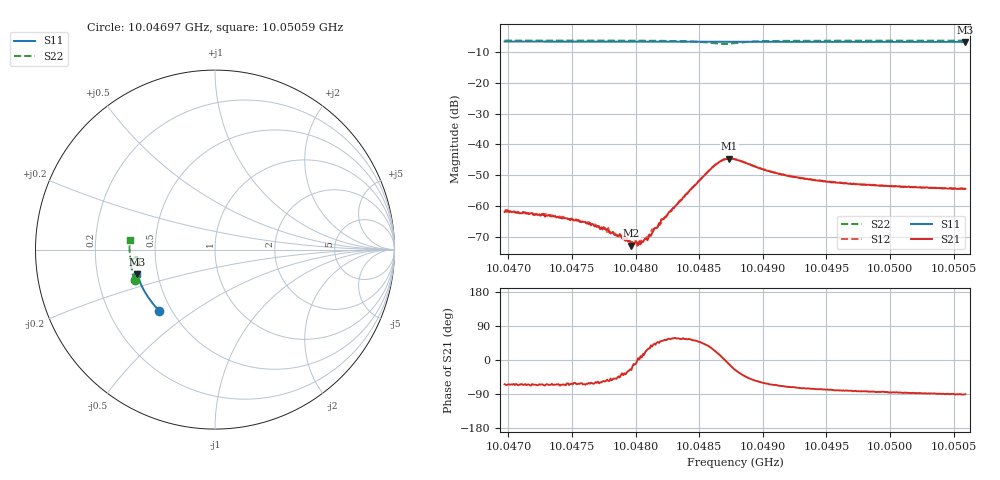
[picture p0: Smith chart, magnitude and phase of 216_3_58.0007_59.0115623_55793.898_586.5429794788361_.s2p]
#  HZ  S  RI  R  50.00
! Rohde & Schwarz Vector Network Analyzer
! Rohde-Schwarz,ZNB20-2Port,1311601062101988,3.16
! Created: UTC 3/21/2024, 12:59:58 AM
! freq[Hz]  re:S11  im:S11  re:S21  im:S21  re:S12  im:S12  re:S22  im:S22
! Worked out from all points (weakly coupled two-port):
!   401 points, 10.04697 GHz to 10.05059 GHz, reference 50 ohm
!   highest |S21| = -44.58 dB at 10.04874 GHz (marker M1); lowest = -72.8 dB at 10.04797 GHz (marker M2)
!   lowest |S11| = -6.9 dB at 10.05059 GHz (marker M3), VSWR 2.66, Z = 19.2 - j6.64 ohm
!   |S11| at or under -10 dB: nowhere
!   |S22| runs from -7.5 to -6.4 dB; largest |S21 - S12| = 0.00039
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1.004697e10  -0.3109 -0.3398  0.000354 -0.000727  0.000415 -0.000732  -0.4479 -0.1713
1.0047287e10  -0.3256 -0.3248  0.000264 -0.000627  0.000354 -0.000648  -0.4545 -0.1504
1.0047577e10  -0.3386 -0.3105  0.000268 -0.000491  0.000283 -0.000481  -0.4597 -0.1305
1.0047767e10  -0.3466 -0.3009  0.000242 -0.000343  0.000259 -0.000342  -0.4627 -0.117
1.0047848e10  -0.3499 -0.2966  0.000218 -0.000257  0.000248 -0.000246  -0.4636 -0.1109
1.0047912e10  -0.3525 -0.2933  0.00024 -0.000169  0.00023 -0.000174  -0.4644 -0.106
1.0047966e10  -0.3546 -0.2904  0.000206 -0.000102  0.000244 -0.000108  -0.4648 -0.1017
1.0048029e10  -0.3572 -0.2871  0.000269 5.25e-06  0.000261 5.23e-05  -0.4653 -0.0965
1.0048075e10  -0.3591 -0.2847  0.000282 0.000106  0.000263 0.000114  -0.4657 -0.0928
1.0048111e10  -0.3605 -0.2829  0.000302 0.000177  0.000298 0.000213  -0.4658 -0.0898
1.0048147e10  -0.3619 -0.281  0.00032 0.000297  0.000319 0.000301  -0.4658 -0.0866
1.0048183e10  -0.3634 -0.2789  0.000377 0.000378  0.000322 0.000398  -0.4657 -0.0833
1.0048283e10  -0.3672 -0.2735  0.000474 0.000704  0.000444 0.000765  -0.4649 -0.0738
1.0048582e10  -0.3779 -0.2571  0.00316 0.00218  0.00306 0.0024  -0.4392 -0.0442
1.0048673e10  -0.3808 -0.2521  0.00535 0.000886  0.00531 0.00124  -0.4207 -0.054
1.0048736e10  -0.3829 -0.2487  0.00578 -0.0012  0.0059 -0.000862  -0.4201 -0.0709
1.0048781e10  -0.3845 -0.2463  0.00517 -0.00247  0.00537 -0.00216  -0.4278 -0.0794
1.0049071e10  -0.3944 -0.2298  0.00153 -0.00323  0.00174 -0.00318  -0.4659 -0.0626
1.0049388e10  -0.4041 -0.2112  0.000654 -0.0026  0.00079 -0.0026  -0.4739 -0.0345
1.0049687e10  -0.4124 -0.1934  0.000379 -0.00229  0.000499 -0.0023  -0.4761 -0.0113
1.0049995e10  -0.4201 -0.1747  0.000147 -0.00211  0.000276 -0.00209  -0.4764 0.0108
1.0050593e10  -0.4328 -0.1376  -7.85e-06 -0.00191  5.67e-05 -0.00193  -0.4735 0.0517
